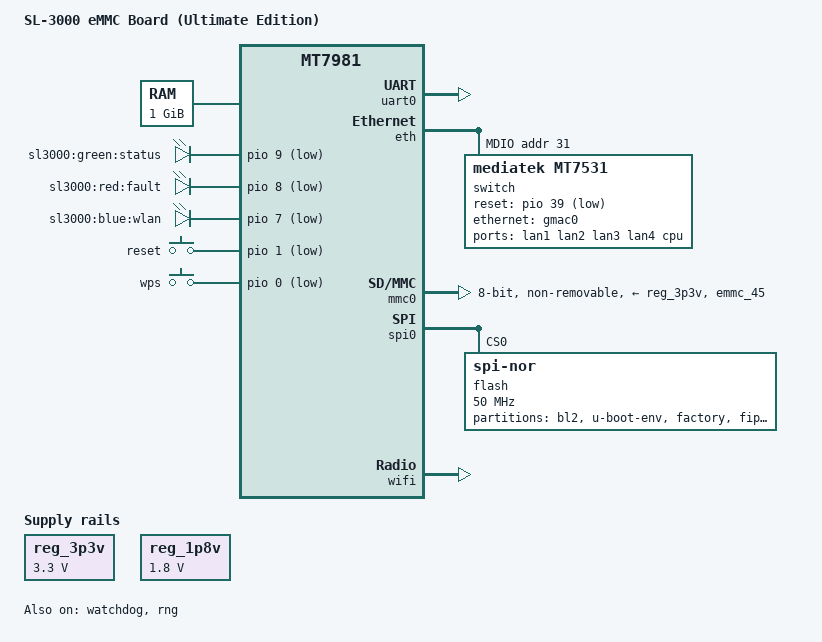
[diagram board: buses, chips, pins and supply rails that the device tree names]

/dts-v1/;

/* SoC  */
#include "mt7981.dtsi"
#include <dt-bindings/gpio/gpio.h>
#include <dt-bindings/input/input.h>

/ {
	model = "SL-3000 eMMC Board (Ultimate Edition)";
	compatible = "sl,sl3000-emmc", "mediatek,mt7981";

	/*  1GB */
	memory@40000000 {
		device_type = "memory";
		reg = <0 0x40000000 0 0x40000000>;
	};

	/*  */
	reg_3p3v: regulator-3p3v {
		compatible = "regulator-fixed";
		regulator-name = "fixed-3.3v";
		regulator-min-microvolt = <3300000>;
		regulator-max-microvolt = <3300000>;
		regulator-always-on;
	};

	reg_1p8v: regulator-1p8v {
		compatible = "regulator-fixed";
		regulator-name = "fixed-1.8v";
		regulator-min-microvolt = <1800000>;
		regulator-max-microvolt = <1800000>;
		regulator-always-on;
	};

	/* CPU OPP */
	cpu_opp: opp-table {
		compatible = "operating-points-v2";

		opp-650000000 {
			opp-hz = /bits/ 64 <650000000>;
			opp-microvolt = <800000>;
		};

		opp-850000000 {
			opp-hz = /bits/ 64 <850000000>;
			opp-microvolt = <850000>;
		};

		opp-1000000000 {
			opp-hz = /bits/ 64 <1000000000>;
			opp-microvolt = <900000>;
		};
	};

	/* LED */
	leds {
		compatible = "gpio-leds";

		led_status_green: status_green {
			label = "sl3000:green:status";
			gpios = <&pio 9 GPIO_ACTIVE_LOW>;
			linux,default-trigger = "heartbeat";
		};

		led_status_red: status_red {
			label = "sl3000:red:fault";
			gpios = <&pio 8 GPIO_ACTIVE_LOW>;
			linux,default-trigger = "panic";
		};

		led_status_blue: status_blue {
			label = "sl3000:blue:wlan";
			gpios = <&pio 7 GPIO_ACTIVE_LOW>;
			linux,default-trigger = "phy0tpt";
		};
	};

	/*  */
	keys {
		compatible = "gpio-keys";

		reset {
			label = "reset";
			gpios = <&pio 1 GPIO_ACTIVE_LOW>;
			linux,code = <KEY_RESTART>;
			debounce-interval = <10>;
		};

		wps {
			label = "wps";
			gpios = <&pio 0 GPIO_ACTIVE_LOW>;
			linux,code = <KEY_WPS_BUTTON>;
			debounce-interval = <10>;
		};
	};

	aliases {
		serial0 = &uart0;
		label-mac-device = &gmac0;

		led-boot = &led_status_green;
		led-failsafe = &led_status_red;
		led-running = &led_status_green;
		led-upgrade = &led_status_blue;
	};

	chosen {
		stdout-path = "serial0:115200n8";
		bootargs = "console=ttyS0,115200 earlycon root=/dev/mmcblk0p5";
	};
};

/* reserved-memory */
&reserved_memory {
	wifi_emi: wifi@47c80000 {
		reg = <0 0x47c80000 0 0x100000>;
		no-map;
	};

	wo_emi0: wo-emi@47d80000 {
		reg = <0 0x47d80000 0 0x40000>;
		no-map;
	};

	wo_data: wo-data@47dc0000 {
		reg = <0 0x47dc0000 0 0x240000>;
		no-map;
	};
};

/* CPU */
&cpu0 {
	operating-points-v2 = <&cpu_opp>;
	status = "okay";
};

/* UART */
&uart0 {
	status = "okay";
};

/* Watchdog */
&watchdog {
	status = "okay";
	timeout-sec = <30>;
};

/* RNG */
&rng {
	status = "okay";
};

/* Ethernet + MT7531 */
&eth {
	status = "okay";
	mediatek,eth-wed-enable = <1>;

	gmac0: mac@0 {
		compatible = "mediatek,eth-mac";
		reg = <0>;
		phy-mode = "2500base-x";

		fixed-link {
			speed = <2500>;
			full-duplex;
		};
	};

	mdio-bus {
		#address-cells = <1>;
		#size-cells = <0>;

		switch@1f {
			compatible = "mediatek,mt7531";
			reg = <0x1f>;
			reset-gpios = <&pio 39 GPIO_ACTIVE_LOW>;

			ports {
				#address-cells = <1>;
				#size-cells = <0>;

				port@0 { reg = <0>; label = "lan1"; };
				port@1 { reg = <1>; label = "lan2"; };
				port@2 { reg = <2>; label = "lan3"; };
				port@3 { reg = <3>; label = "lan4"; };

				port@6 {
					reg = <6>;
					label = "cpu";
					ethernet = <&gmac0>;
					phy-mode = "2500base-x";

					fixed-link {
						speed = <2500>;
						full-duplex;
					};
				};
			};
		};
	};
};

/* eMMC */
&mmc0 {
	status = "okay";
	bus-width = <8>;
	max-frequency = <200000000>;

	pinctrl-names = "default", "state_uhs";
	pinctrl-0 = <&mmc0_pins_default>;
	pinctrl-1 = <&mmc0_pins_uhs>;

	cap-mmc-highspeed;
	mmc-hs200-1_8v;
	mmc-hs400-1_8v;

	vmmc-supply = <&reg_3p3v>;
	vqmmc-supply = <&reg_1p8v>;

	non-removable;
};

/* SPI NOR */
&spi0 {
	status = "okay";
	num-cs = <1>;

	flash@0 {
		compatible = "jedec,spi-nor";
		reg = <0>;
		spi-max-frequency = <50000000>;

		partitions {
			compatible = "fixed-partitions";
			#address-cells = <1>;
			#size-cells = <1>;

			partition@0 {
				label = "bl2";
				reg = <0x00000 0x0100000>;
				read-only;
			};

			partition@100000 {
				label = "u-boot-env";
				reg = <0x100000 0x0080000>;
			};

			factory: partition@180000 {
				label = "factory";
				reg = <0x180000 0x0200000>;
				read-only;
			};

			partition@380000 {
				label = "fip";
				reg = <0x380000 0x0200000>;
				read-only;
			};

			partition@580000 {
				label = "recovery";
				reg = <0x580000 0x02000000>;
			};
		};
	};
};

/* WiFi */
&wifi {
	status = "okay";
	mediatek,mtd-eeprom = <&factory 0x0000>;
	mediatek,eeprom-checksum = <1>;
};

/* Pinmux */
&pio {
	mmc0_pins_default: mmc0-pins-default {
		mux {
			function = "flash";
			groups = "emmc_45";
		};
	};

	mmc0_pins_uhs: mmc0-pins-uhs {
		mux {
			function = "flash";
			groups = "emmc_45";
		};
	};
};
